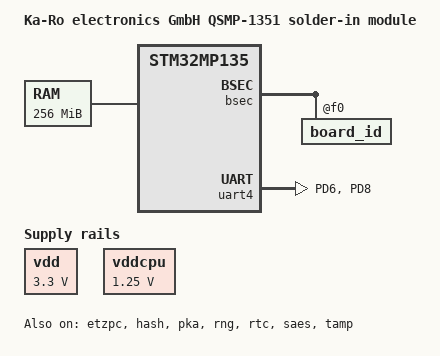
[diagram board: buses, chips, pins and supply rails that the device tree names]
// SPDX-License-Identifier: (GPL-2.0-or-later OR BSD-3-Clause)
/*
 * Based on STM32CubeMX tool generated source.
 *
 * Copyright (C) 2024 Markus Bauer <MB@KARO-electronics.de>
 */

/dts-v1/;

#include <dt-bindings/pinctrl/stm32-pinfunc.h>
#include <dt-bindings/clock/stm32mp13-clksrc.h>
#include <dt-bindings/soc/stm32mp13-etzpc.h>
#include <dt-bindings/gpio/stm32mp_gpio.h>
#include <dt-bindings/power/stm32mp1-power.h>
#include <dt-bindings/random/stm32mp-rng.h>
#include <dt-bindings/regulator/st,stm32mp13-regulator.h>
#include <dt-bindings/soc/stm32mp13-tzc400.h>
#include <dt-bindings/soc/stm32mp-tzc400-macro.h>

#include "stm32mp135.dtsi"
#include "stm32mp13xc.dtsi"

/ {
	model = "Ka-Ro electronics GmbH QSMP-1351 solder-in module";
	compatible = "st,stm32mp135c-qsmp-1351", "st,stm32mp135";

	memory@c0000000 {
		device_type = "memory";
		reg = <0xc0000000 0x10000000>;
	};

	reserved-memory {
		#address-cells = <1>;
		#size-cells = <1>;
		ranges;
	};

	aliases {
		serial0 = &uart4;
	};

	chosen {
		stdout-path = "serial0:115200n8";
	};

	vdd: regulator-3v3 {
		compatible = "regulator-fixed";
		regulator-name = "vdd";
		regulator-min-microvolt = <3300000>;
		regulator-max-microvolt = <3300000>;
		regulator-always-on;
	};

	vddcpu: regulator-cpu {
		compatible = "regulator-fixed";
		regulator-name = "vddcpu";
		regulator-min-microvolt = <1250000>;
		regulator-max-microvolt = <1250000>;
		regulator-always-on;
	};

	clocks {
		clk_hsi: clk-hsi {
			clock-frequency = <32000000>;
		};
		
		clk_lse: clk-lse {
			clock-frequency = <32768>;
			st,drive = <LSEDRV_MEDIUM_HIGH>;
		};

		clk_hse: clk-hse {
			clock-frequency = <24000000>;
		};

		clk_i2sin: clk-i2sin {
			status = "disabled";
		};
	};
};

&bsec {
	status = "okay";

	board_id: board_id@f0 {
		reg = <0xf0 0x4>;
		st,non-secure-otp;
	};
};

&cpu0 {
	cpu-supply = <&vddcpu>;
};

&etzpc {
	status = "okay";
	st,decprot = <
		/*"NS_R S_W" peripherals*/
		DECPROT(STM32MP1_ETZPC_DDRCTRLPHY_ID, DECPROT_NS_R_S_W, DECPROT_LOCK)
		/*"Non Secured" peripherals*/
		DECPROT(STM32MP1_ETZPC_ETH1_ID, DECPROT_NS_RW, DECPROT_UNLOCK)
		DECPROT(STM32MP1_ETZPC_I2C4_ID, DECPROT_NS_RW, DECPROT_UNLOCK)
		DECPROT(STM32MP1_ETZPC_I2C5_ID, DECPROT_NS_RW, DECPROT_UNLOCK)
		DECPROT(STM32MP1_ETZPC_LTDC_ID, DECPROT_NS_RW, DECPROT_UNLOCK)
		DECPROT(STM32MP1_ETZPC_QSPI_ID, DECPROT_NS_RW, DECPROT_UNLOCK)
		DECPROT(STM32MP1_ETZPC_SDMMC1_ID, DECPROT_NS_RW, DECPROT_UNLOCK)
		DECPROT(STM32MP1_ETZPC_SDMMC2_ID, DECPROT_NS_RW, DECPROT_UNLOCK)
		DECPROT(STM32MP1_ETZPC_SPI5_ID, DECPROT_NS_RW, DECPROT_UNLOCK)
		DECPROT(STM32MP1_ETZPC_USART1_ID, DECPROT_NS_RW, DECPROT_UNLOCK)
		DECPROT(STM32MP1_ETZPC_USART2_ID, DECPROT_NS_RW, DECPROT_UNLOCK)
		DECPROT(STM32MP1_ETZPC_OTG_ID, DECPROT_NS_RW, DECPROT_UNLOCK)
		DECPROT(STM32MP1_ETZPC_USBPHYCTRL_ID, DECPROT_NS_RW, DECPROT_UNLOCK)
		/*"Secured" peripherals*/
		DECPROT(STM32MP1_ETZPC_HASH_ID, DECPROT_S_RW, DECPROT_UNLOCK)
		DECPROT(STM32MP1_ETZPC_PKA_ID, DECPROT_S_RW, DECPROT_UNLOCK)
		DECPROT(STM32MP1_ETZPC_RNG_ID, DECPROT_S_RW, DECPROT_UNLOCK)
		DECPROT(STM32MP1_ETZPC_SAES_ID, DECPROT_S_RW, DECPROT_UNLOCK)
		DECPROT(STM32MP1_ETZPC_STGENC_ID, DECPROT_S_RW, DECPROT_UNLOCK)

	/*Restriction: following IDs are not managed  - please to use User-Section if needed:
		STM32MP1_ETZPC_SRAMx_ID  STM32MP1_ETZPC_BKPSRAM_ID*/

	/*STM32CubeMX generates a basic and standard configuration for ETZPC.
	Additional device configurations can be added here if needed.
	"etzpc" node could be also overloaded in "addons" User-Section.*/
	>;
};

&hash {
	status = "okay";
};

&pka {
	status = "okay";
};

&pwr_regulators {
 	vdd-supply = <&vdd>;
};

&rcc {
	clocks = <&clk_hse>, <&clk_hsi>, <&clk_lse>, <&clk_lsi>, <&clk_csi>;
	clock-names = "clk-hse", "clk-hsi", "clk-lse", "clk-lsi", "clk-csi";
	status = "okay";

	st,clksrc = <
		CLK_MPU_PLL1P
		CLK_AXI_PLL2P
		CLK_MLAHBS_PLL3
		CLK_RTC_LSE
		CLK_MCO1_DISABLED
		CLK_MCO2_DISABLED
		CLK_QSPI_ACLK
		CLK_CKPER_DISABLED
		CLK_ETH1_PLL4P
		CLK_SDMMC1_PLL4P
		CLK_SDMMC2_HSI
		CLK_STGEN_HSI
		CLK_USBPHY_HSE
		CLK_SPI1_PLL4P
		CLK_SPI5_PCLK6
		CLK_I2C4_PCLK6
		CLK_USBO_USBPHY
		CLK_I2C12_PCLK1
		CLK_I2C5_PCLK6
		CLK_UART1_HSI
		CLK_UART2_HSI
		CLK_UART4_PCLK1
		CLK_UART35_HSI
		CLK_UART78_HSI
		CLK_FDCAN_HSE
		CLK_SAI2_PLL4Q
		CLK_RNG1_CSI
		CLK_SAES_AXI
	>;
	st,clkdiv = <
		DIV(DIV_MPU, 1)
		DIV(DIV_AXI, 0)
		DIV(DIV_MLAHB, 0)
		DIV(DIV_APB1, 1)
		DIV(DIV_APB2, 1)
		DIV(DIV_APB3, 1)
		DIV(DIV_APB4, 1)
		DIV(DIV_APB5, 2)
		DIV(DIV_APB6, 1)
		DIV(DIV_RTC, 0)
		DIV(DIV_MCO1, 0)
		DIV(DIV_MCO2, 0)
	>;

	st,pll_vco {
		pll1_vco_1300Mhz: pll1-vco-1300Mhz {
			src = <CLK_PLL12_HSE>;
			divmn = <2 80>;
			frac = <0x800>;
		};

		pll2_vco_1066Mhz: pll2-vco-1066Mhz {
			src = <CLK_PLL12_HSE>;
			divmn = <2 65>;
			frac = <0x1400>;
		};

		pll3_vco_417Mhz: pll3-vco-417Mhz {
			src = <CLK_PLL3_HSE>;
			divmn = <1 33>;
			frac = <0x1a04>;
		};

		pll4_vco_600Mhz: pll4-vco-600Mhz {
			src = <CLK_PLL4_HSE>;
			divmn = <1 49>;
		};
	};

	pll1:st,pll@0 {
		reg = <0>;
		compatible = "st,stm32mp1-pll";
		st,pll = < &pll1_cfg1 >;

		pll1_cfg1: pll1_cfg1 {
			st,pll_vco = <&pll1_vco_1300Mhz>;
			st,pll_div_pqr = <0 1 1>;
		};
	};

	pll2:st,pll@1 {
		reg = <1>;
		compatible = "st,stm32mp1-pll";
		st,pll = < &pll2_cfg1 >;

		pll2_cfg1: pll2_cfg1 {
			st,pll_vco = <&pll2_vco_1066Mhz>;
			st,pll_div_pqr = <1 1 0>;
		};
	};

	pll3:st,pll@2 {
		reg = <2>;
		compatible = "st,stm32mp1-pll";
		st,pll = < &pll3_cfg1 >;

		pll3_cfg1: pll3_cfg1 {
			st,pll_vco = <&pll3_vco_417Mhz>;
			st,pll_div_pqr = <1 16 36>;
		};
	};

	pll4:st,pll@3 {
		reg = <3>;
		compatible = "st,stm32mp1-pll";
		st,pll = < &pll4_cfg1 >;

		pll4_cfg1: pll4_cfg1 {
			st,pll_vco = <&pll4_vco_600Mhz>;
			st,pll_div_pqr = <11 6 7>;
		};
	};

	st,clk_opp {
		st,ck_mpu {
			cfg_1 {
				hz = <650000000>;
				st,clksrc = <CLK_MPU_PLL1P>;
				st,pll = <&pll1_cfg1>;
			};
		};

		st,ck_axi {
			cfg_1 {
				hz = <266500000>;
				st,clksrc = <CLK_AXI_PLL2P>;
				st,clkdiv = <DIV(DIV_AXI, 0)>;
				st,pll = <&pll2_cfg1>;
			};
		};

		st,ck_mlahbs {
			cfg_1 {
				hz = <208877929>;
				st,clksrc = <CLK_MLAHBS_PLL3>;
				st,clkdiv = <DIV(DIV_MLAHB, 0)>;
				st,pll = <&pll3_cfg1>;
			};
		};
	};
};

&rng {
	status = "okay";
};

&rtc {
	status = "okay";
};

&saes {
	status = "okay";
};

&scmi_regu {
	scmi_vddcpu: voltd-vddcpu {
		reg = <VOLTD_SCMI_REGU0>;
		voltd-supply = <&vddcpu>;
	};

	scmi_vdd: voltd-vdd {
		reg = <VOLTD_SCMI_REGU1>;
		voltd-supply = <&vdd>;
	};
};

&sdmmc1_io {
	vddsd1-supply = <&vdd>;
};

&sdmmc2_io {
	vddsd2-supply = <&vdd>;
};

&tamp {
	status = "okay";
};

&uart4 {
	pinctrl-names = "default";
	pinctrl-0 = <&uart4_pins>;
	status = "okay";
};

&pinctrl {
	uart4_pins: uart4-pinctrl {
		pins1 {
			pinmux = <STM32_PINMUX('D', 6, AF8)>; /* UART4_TX */
			bias-disable;
			drive-push-pull;
			slew-rate = <0>;
		};
		pins2 {
			pinmux = <STM32_PINMUX('D', 8, AF8)>; /* UART4_RX */
			bias-disable;
		};
	};
};
